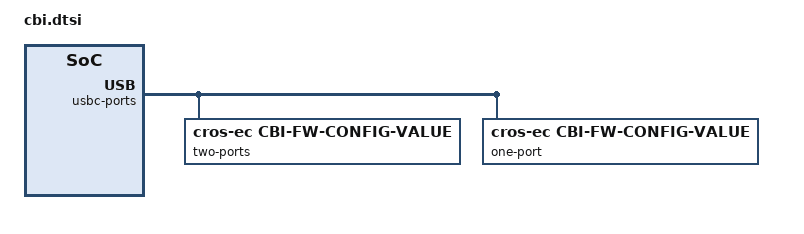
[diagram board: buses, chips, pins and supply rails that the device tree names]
/* Copyright 2026 The ChromiumOS Authors
 * Use of this source code is governed by a BSD-style license that can be
 * found in the LICENSE file.
 */

/ {
        grogu-fw-config {
                compatible = "cros-ec,cbi-fw-config";

                /*
                 * FW_CONFIG field to indicate the usbc number.
                 */
                usbc-ports {
                        enum-name = "USBC_PORTS";
                        start = <0>;
                        size = <2>;

                        two-ports {
                                compatible = "cros-ec,cbi-fw-config-value";
                                enum-name = "TWO_PORTS";
                                value = <0>;
                        };
                        one-port {
                                compatible = "cros-ec,cbi-fw-config-value";
                                enum-name = "ONE_PORT";
                                value = <1>;
                        };
                };

                /*
                 * FW_CONFIG field to indicate the DB config.
                 */
                db-type {
                        enum-name = "DB_TYPE";
                        start = <2>;
                        size = <2>;

                        none {
                                compatible = "cros-ec,cbi-fw-config-value";
                                enum-name = "DB_NONE";
                                value = <0>;
                        };
                        db_1a {
                                compatible = "cros-ec,cbi-fw-config-value";
                                enum-name = "DB_1A";
                                value = <1>;
                        };
                 };
        };
};
